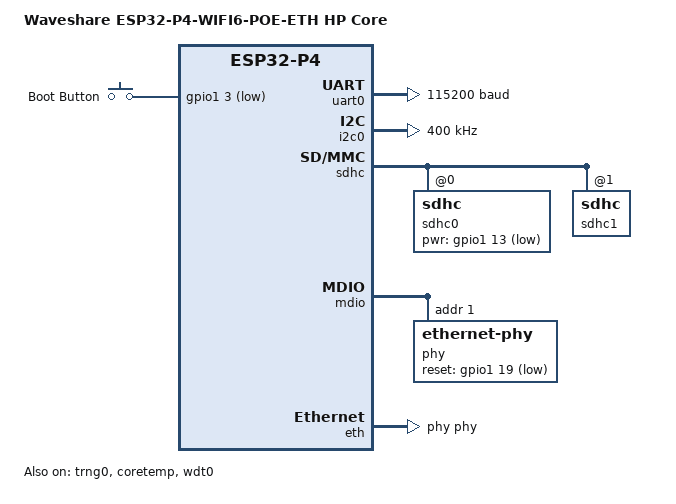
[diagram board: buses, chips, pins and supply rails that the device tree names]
/*
 * Copyright (c) 2026 Richard Osterloh <richard.osterloh@gmail.com>
 * SPDX-License-Identifier: Apache-2.0
 */

/dts-v1/;

#include <espressif/esp32p4/esp32p4_n32r32.dtsi>
#include "esp32p4_wifi6_poe_eth-pinctrl.dtsi"
#include <zephyr/dt-bindings/input/input-event-codes.h>
#include <zephyr/dt-bindings/video/video-interfaces.h>
/*
 * 16M partition table on a 32M flash, deliberately.
 *
 * partitions_0x2000_default_32M.dtsi gives each MCUboot slot 16128 KB = 4032
 * 4 KB sectors. MCUboot sizes its per-slot boot_sector_t arrays from the slot
 * size (CONFIG_BOOT_MAX_IMG_SECTORS_AUTO), so those two arrays alone are ~64 KB
 * of .bss and the bootloader image no longer links:
 *
 *   section `.bss' will not fit in region `dram_seg'
 *   region `dram_seg' overflowed by 31468 bytes
 *
 * This reproduces byte-for-byte on the in-tree waveshare esp32p4_wifi6, which
 * pairs the same 32M table with a Kconfig.sysbuild defaulting to MCUboot - so
 * it is an upstream combination that has never been built, not a property of
 * this board or of v1.3 silicon.
 *
 * The 16M table's 7936 KB slots halve the sector count and are what the
 * esp32p4_nano boots MCUboot with today. Nothing here needs 8 MB of image, let
 * alone 16 MB. The upper 16 MB of flash is simply left unpartitioned; add a
 * board-local partition for it if an application ever wants bulk storage.
 */
#include <espressif/partitions_0x2000_default_16M.dtsi>

/*
 * Not modelled, all verified against the board schematic:
 *
 * - ES8311 codec (U10) + NS4150B speaker amp (U8). I2S0 is MCLK GPIO13,
 *   SCLK GPIO12, LRCK GPIO10, DSDIN GPIO9, ASDOUT GPIO11, with the amp's
 *   enable on GPIO53 and the codec's control interface on i2c0 below.
 *   Zephyr has no ES8311 driver, so there is nothing to bind to.
 * - USB Serial/JTAG. On the P4 it sits on GPIO24/25, which this board only
 *   brings out on the 40-pin header (P6.28/P6.27) - there is no connector.
 *   The Type-C port (USB1) is a CH343P USB-to-UART bridge on uart0 instead.
 * - MIPI DSI connector J1. The D-PHY lanes are wired but no panel is fitted.
 * - The PoE header is power only; it feeds VCC_5V and touches no GPIO.
 *
 * The USB 2.0 HS OTG port (J2) lands on a USB-A connector, i.e. it is a host
 * port, so no zephyr_udc0 device-side label is defined; see the ESP32-P4-Nano
 * board for the UHC route in.
 */

/ {
	model = "Waveshare ESP32-P4-WIFI6-POE-ETH HP Core";
	compatible = "waveshare,esp32-p4-wifi6-poe-eth";

	chosen {
		zephyr,sram = &sramhp;
		zephyr,console = &uart0;
		zephyr,shell-uart = &uart0;
		zephyr,flash = &flash0;
		zephyr,code-partition = &slot0_partition;
		zephyr,bt-hci = &esp_hosted_mcu_hci;
	};

	aliases {
		sw0 = &boot_button;
		watchdog0 = &wdt0;
		sdhc0 = &sdhc0;
		/*
		 * Required by MCUboot's serial-recovery / USB-DFU entrance GPIO:
		 * bootloader/mcuboot/boot/zephyr/io.c derives BUTTON_0_NODE from
		 * this alias and #errors without it. The BOOT button is the only
		 * user button on the board, and holding it is the physical way
		 * back in if an OTA leaves the app unbootable.
		 */
		mcuboot-button0 = &boot_button;
	};

	gpio_keys {
		compatible = "gpio-keys";

		/*
		 * GPIO35 is the P4's BOOT strapping pin and doubles as RMII
		 * TXD1 (see rmii_default). The button is only meaningful while
		 * the chip is held in reset, so the two uses do not collide at
		 * runtime - the same sharing exists on every Waveshare P4 board.
		 */
		boot_button: button {
			label = "Boot Button";
			gpios = <&gpio1 3 (GPIO_PULL_UP | GPIO_ACTIVE_LOW)>;
			zephyr,code = <INPUT_KEY_0>;
		};
	};
};

/*
 * v1.3 silicon (Kconfig.esp32p4_wifi6_poe_eth selects SOC_ESP32P4_REV_1_3):
 * valid CPU frequencies are 90/180/360 MHz. The SoC dtsi defaults to 400 MHz,
 * which only exists on v3.x, and soc/espressif/esp32p4/soc.c BUILD_ASSERTs the
 * set membership per revision - leaving the default here is a build failure.
 */
&cpu0 {
	clock-frequency = <DT_FREQ_M(360)>;
};

&cpu1 {
	clock-frequency = <DT_FREQ_M(360)>;
};

&uart0 {
	status = "okay";
	current-speed = <115200>;
	pinctrl-0 = <&uart0_default>;
	pinctrl-names = "default";
};

&trng0 {
	status = "okay";
};

&coretemp {
	status = "okay";
};

/*
 * zephyr_i2c is the conventional label for a board's general-purpose I2C, which
 * samples and shields bind to. Here i2c0 (SDA GPIO7 / SCL GPIO8) is shared by
 * the ES8311 codec, the CSI connector's SCCB pins (J3.13/14) and the DSI
 * connector's touch pins (J1.11/12).
 */
zephyr_i2c: &i2c0 {
	status = "okay";
	clock-frequency = <I2C_BITRATE_FAST>;
	pinctrl-0 = <&i2c0_default>;
	pinctrl-names = "default";
};

&gpio0 {
	status = "okay";
};

&gpio1 {
	status = "okay";
};

&wdt0 {
	status = "okay";
};

&dma {
	status = "okay";
};

&dma_axi {
	status = "okay";
};

&ldo {
	status = "okay";

	ldo1@1 {
		regulator-init-microvolt = <3300000>;
		regulator-boot-on;
		regulator-always-on;
	};

	ldo2@2 {
		regulator-init-microvolt = <1800000>;
		regulator-boot-on;
		regulator-always-on;
	};

	/*
	 * LDO_VO3 is the SoC's VDD_MIPI_DPHY supply and 2.5 V is the only value
	 * it takes. Without it the D-PHY never leaves its "No Power" state and a
	 * CSI camera silently transfers zero bytes forever. Both the CSI and DSI
	 * connectors need it, so it is enabled for the board rather than
	 * acquired by one driver.
	 */
	ldo3@3 {
		regulator-init-microvolt = <2500000>;
		regulator-boot-on;
		regulator-always-on;
	};

	ldo4@4 {
		regulator-init-microvolt = <3300000>;
		regulator-boot-on;
		regulator-always-on;
	};
};

&sdhc {
	sdhc0: sdhc@0 {
		status = "okay";
		bus-width = <4>;
		max-bus-freq = <40000000>;
		/*
		 * GPIO45 drives the gate of Q1, an AO3401 P-channel FET in the
		 * microSD VDD rail, so the supply is enabled by driving the pin
		 * low. This differs from the ESP32-P4-Nano, where the same rail
		 * is hard-wired on.
		 */
		pwr-gpios = <&gpio1 13 GPIO_ACTIVE_LOW>;
		clk-pin = <43>;
		cmd-pin = <44>;
		d0-pin = <39>;
		d1-pin = <40>;
		d2-pin = <41>;
		d3-pin = <42>;

		mmc {
			compatible = "zephyr,sdmmc-disk";
			disk-name = "SD";
			status = "okay";
		};
	};

	/*
	 * Slot 1 is the on-board ESP32-C6-MINI-1 (U1), which is the only radio
	 * this SoC has. Both slots stay enabled - slot 0 keeps driving the
	 * microSD socket - and the single SDMMC controller serialises
	 * transactions between them. On the P4 the GPIO matrix routes slot 1
	 * (slot 0 has dedicated IO_MUX pins), so these pins are board wiring
	 * rather than a fixed function; each carries a 51K pull-up on the C6
	 * side.
	 *
	 * reset-gpios is GPIO54 (= gpio1 pin 22, since gpio1 starts at GPIO32),
	 * which reaches the C6's CHIP_PU through the 0R R54. It is the only way
	 * to restart the co-processor: the SD power-cycle fallback needs the
	 * slot's supply behind pwr-gpios, and the C6 rail is not switched here.
	 *
	 * The radio firmware lives on the C6 and is flashed separately, so this
	 * node describes a link the host cannot bring up on its own. Unlike the
	 * ESP32-P4-Nano, this board brings the C6's own UART0 out on header H7
	 * (pin 1 TX, pin 2 RX), so the co-processor can be re-flashed directly
	 * rather than pushed over SDIO from an ESP-IDF host application.
	 *
	 * Enabling the node costs Ethernet-only applications nothing: the WiFi
	 * and HCI drivers are sourced under `if WIFI` / `if BT`, so an
	 * application that sets neither never builds them.
	 */
	sdhc1: sdhc@1 {
		status = "okay";
		bus-width = <4>;
		max-bus-freq = <40000000>;
		clk-pin = <18>;
		cmd-pin = <19>;
		d0-pin = <14>;
		d1-pin = <15>;
		d2-pin = <16>;
		d3-pin = <17>;
		#address-cells = <1>;
		#size-cells = <0>;

		esp_hosted_mcu: esp-hosted-mcu@0 {
			compatible = "espressif,esp-hosted-mcu";
			reg = <0>;
			reset-gpios = <&gpio1 22 GPIO_ACTIVE_HIGH>;
			status = "okay";

			esp_hosted_mcu_wifi: wifi {
				compatible = "espressif,esp-hosted-mcu-wifi";
				status = "okay";
			};

			esp_hosted_mcu_hci: bt-hci {
				compatible = "espressif,esp-hosted-mcu-bt-hci";
				status = "okay";
			};
		};
	};
};

&mdio {
	pinctrl-0 = <&mdio_default>;
	pinctrl-names = "default";
	status = "okay";

	/*
	 * IP101GRI (U11) at PHY address 1, reset on GPIO51 (= gpio1 pin 19),
	 * active low.
	 *
	 * Both timing properties are mandatory, not tuning knobs. phy_mii.c
	 * reads them with DT_INST_PROP_OR(..., 0), so declaring reset-gpios
	 * without them yields a zero-width reset pulse and no settling time,
	 * and the PHY ID registers get read while it is still in reset. That
	 * surfaces as "phy_mii: No PHY found at address 1" plus "eth_esp32: PHY
	 * device not ready", leaving the board with no network interface at all
	 * - strictly worse than declaring no reset line. 10 ms assert is the
	 * IP101's documented minimum; the 50 ms deassertion timeout is margin
	 * over its ~10 ms.
	 */
	phy: ethernet-phy@1 {
		compatible = "ethernet-phy";
		reg = <1>;
		reset-gpios = <&gpio1 19 GPIO_ACTIVE_LOW>;
		reset-assert-duration-us = <10000>;
		reset-deassertion-timeout-ms = <50>;
	};
};

&eth {
	status = "okay";
	phy-handle = <&phy>;
	pinctrl-0 = <&rmii_default>;
	pinctrl-names = "default";
};

/*
 * MIPI CSI-2 camera receiver (host + bridge). The D-PHY uses dedicated silicon
 * pads (no pinctrl) and its clocks are gated by the HAL, so it declares
 * neither. Disabled by default; a shield or overlay enables it and wires the
 * sensor endpoint.
 *
 * The csi_* labels are the contract Zephyr's camera shields bind to, so that
 * boards/shields/raspberry_pi_camera_module_2 works here unmodified:
 *
 *   csi_interface     - the receiver, which the shield sets status = "okay"
 *   csi_ep_in         - its input endpoint, which the shield points at the sensor
 *   csi_capture_port  - the video device an app opens, i.e. chosen zephyr,camera
 *   csi_i2c           - the SCCB bus on the CSI connector (below)
 *
 * This receiver is a single video device, so csi_interface and
 * csi_capture_port name the same node.
 */
/ {
	soc {
		csi_interface: csi_capture_port: mipi_csi: mipi-csi@5009f000 {
			compatible = "espressif,esp32p4-mipi-csi";
			reg = <0x5009f000 0x800 0x5009f800 0x800>;
			reg-names = "host", "bridge";
			/*
			 * Frame completion is signalled by the DW-GDMA channel
			 * that drains the CSI bridge (one contiguous block per
			 * frame), so the receiver services the DW-GDMA IRQ.
			 */
			interrupts = <DW_GDMA_INTR_SOURCE IRQ_DEFAULT_PRIORITY 0>;
			interrupt-parent = <&intc>;
			#address-cells = <1>;
			#size-cells = <0>;
			status = "disabled";

			/*
			 * The endpoint cannot be left empty for a shield to fill
			 * in: edtlib enforces a binding's required properties
			 * whenever the node's own status is "okay", and status
			 * does not inherit from a parent, so images that never
			 * see a shield - MCUboot included - would fail the build.
			 *
			 * bus-type and data-lanes describe the connector, not a
			 * camera: J3 is the Raspberry Pi 15-pin CSI connector,
			 * wired CSI_D0_+/-, CSI_D1_+/- and CSI_CLK_+/- to the
			 * P4's D-PHY pads, i.e. 2-lane MIPI CSI-2 D-PHY.
			 */
			port {
				csi_ep_in: endpoint {
					remote-endpoint-label = "imx219_ep_out";
					bus-type = <VIDEO_BUS_TYPE_CSI2_DPHY>;
					data-lanes = <1 2>;
				};
			};
		};
	};
};

/*
 * The CSI connector's SCCB pins are i2c0 (SDA GPIO7 on J3.14 / SCL GPIO8 on
 * J3.13), so the camera shields' csi_i2c is this bus. Separate statement
 * because the node already carries the zephyr_i2c label above.
 */
csi_i2c: &i2c0 {};
